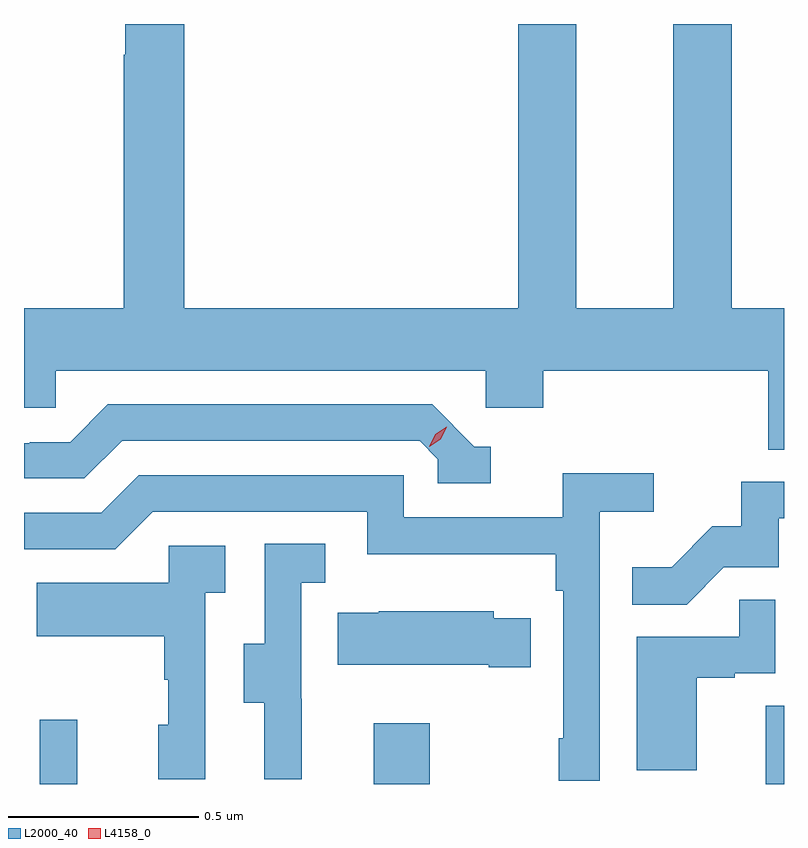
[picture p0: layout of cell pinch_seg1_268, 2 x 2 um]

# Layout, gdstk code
import gdstk
lib = gdstk.Library(unit=1e-6, precision=1e-09)
def R(c, l, rs):  # rectangles x0, y0, x1, y1
    for r in rs: c.add(gdstk.rectangle(r[:2], r[2:], *l))
def P(c, l, *ps):  # polygons
    for p in ps: c.add(gdstk.Polygon(p, *l))
L2000_40 = (2000, 40)
L4158_0 = (4158, 0)

pinch_seg1_268 = lib.new_cell('pinch_seg1_268')
R(pinch_seg1_268, L2000_40, [(929.673,577.284,929.771,577.453), (930.551,577.284,930.699,577.444), (931.583,577.284,931.631,577.49)])
P(pinch_seg1_268, L2000_40, [(931.631,578.536),(931.493,578.536),(931.493,579.284),(931.34,579.284),(931.34,578.536),(931.084,578.536),(931.084,579.284),(930.932,579.284),(930.932,578.536),(930.053,578.536),(930.053,579.284),(929.897,579.284),(929.897,579.203),(929.893,579.203),(929.893,578.536),(929.631,578.536),(929.631,578.274),(929.715,578.274),(929.715,578.372),(930.846,578.372),(930.846,578.274),(930.998,578.274),(930.998,578.372),(931.589,578.372),(931.589,578.164),(931.631,578.164)],
  [(930.859,578.172),(930.816,578.172),(930.705,578.283),(929.852,578.283),(929.753,578.184),(929.646,578.184),(929.646,578.181),(929.631,578.181),(929.631,578.088),(929.79,578.088),(929.889,578.187),(930.672,578.187),(930.72,578.139),(930.72,578.076),(930.859,578.076)],
  [(931.146,578),(931.288,578),(931.288,578.102),(931.049,578.102),(931.049,577.986),(930.63,577.986),(930.63,578.097),(929.933,578.097),(929.834,577.998),(929.631,577.998),(929.631,577.902),(929.871,577.902),(929.97,578.001),(930.534,578.001),(930.534,577.889),(931.03,577.889),(931.03,577.793),(931.05,577.793),(931.05,577.405),(931.038,577.405),(931.038,577.293),(931.146,577.293)],
  [(931.473,577.854),(931.617,577.854),(931.617,577.983),(931.631,577.983),(931.631,578.079),(931.519,578.079),(931.519,577.962),(931.442,577.962),(931.335,577.855),(931.231,577.855),(931.231,577.756),(931.375,577.756)],
  [(930.362,577.509),(930.36,577.509),(930.36,577.813),(930.424,577.813),(930.424,577.916),(930.264,577.916),(930.264,577.653),(930.209,577.653),(930.209,577.498),(930.263,577.498),(930.263,577.296),(930.362,577.296)],
  [(930.108,577.787),(930.16,577.787),(930.16,577.911),(930.012,577.911),(930.012,577.813),(929.665,577.813),(929.665,577.673),(930,577.673),(930,577.559),(930.01,577.559),(930.01,577.44),(929.984,577.44),(929.984,577.296),(930.108,577.296)],
  [(931.402,577.563),(931.502,577.563),(931.502,577.575),(931.608,577.575),(931.608,577.769),(931.513,577.769),(931.513,577.671),(931.244,577.671),(931.244,577.32),(931.402,577.32)],
  [(930.965,577.72),(930.867,577.72),(930.867,577.738),(930.565,577.738),(930.565,577.735),(930.457,577.735),(930.457,577.598),(930.854,577.598),(930.854,577.591),(930.965,577.591)])
P(pinch_seg1_268, L4158_0, [(930.697,578.172),(930.697,578.172),(930.713,578.205),(930.744,578.224),(930.744,578.224),(930.744,578.224),(930.728,578.191),(930.697,578.172)])

lib.write_gds('pinch_seg1_268.gds')
